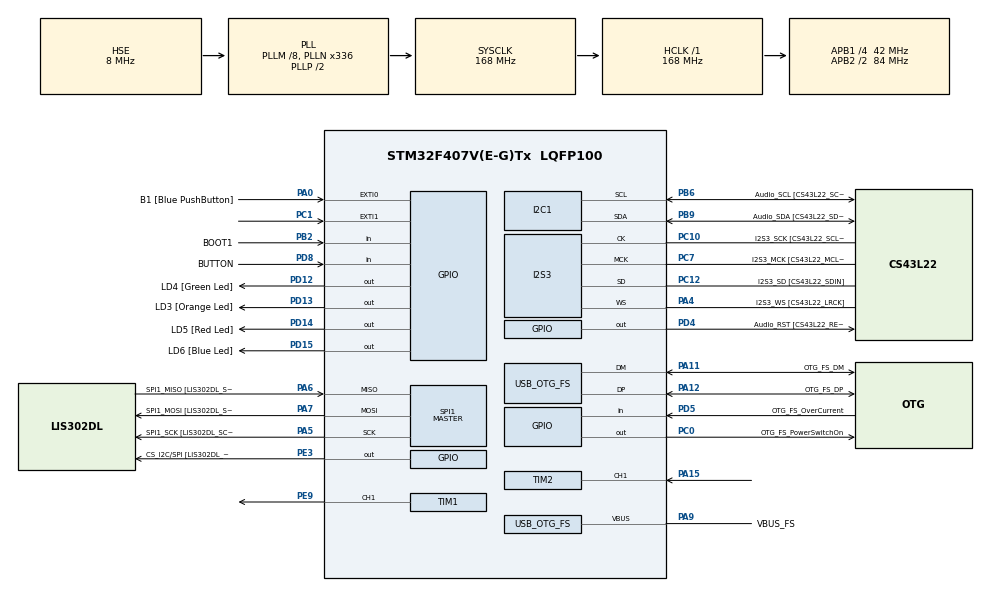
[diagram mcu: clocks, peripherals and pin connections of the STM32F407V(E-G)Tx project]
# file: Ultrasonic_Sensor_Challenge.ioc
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I2S3.AudioFreq-Half_Duplex_Master=I2S_AUDIOFREQ_96K
I2S3.ErrorAudioFreq=-2.34 %
I2S3.ErrorAudioFreq-Half_Duplex_Master=0.8 %
I2S3.FullDuplexMode=I2S_FULLDUPLEXMODE_DISABLE
I2S3.Instance=SPI$Index
I2S3.RealAudioFreq=93.75 KHz
I2S3.RealAudioFreq-Half_Duplex_Master=96.774 KHz
I2S3.VirtualMode=I2S_MODE_MASTER
Mcu.Family=STM32F4
Mcu.Name=STM32F407V(E-G)Tx
Mcu.Package=LQFP100
NVIC.EXTI1_IRQn=true\:0\:0\:false\:false\:true\:true\:true\:true
NVIC.OTG_FS_IRQn=true\:0\:0\:false\:false\:true\:true\:true\:true
NVIC.PriorityGroup=NVIC_PRIORITYGROUP_0
NVIC.TIM1_BRK_TIM9_IRQn=true\:0\:0\:false\:false\:true\:true\:true\:true
NVIC.TIM1_CC_IRQn=true\:0\:0\:false\:false\:true\:true\:true\:true
NVIC.TIM1_TRG_COM_TIM11_IRQn=true\:0\:0\:false\:false\:true\:true\:true\:true
NVIC.TIM1_UP_TIM10_IRQn=true\:0\:0\:false\:false\:true\:true\:true\:true
NVIC.TIM2_IRQn=true\:0\:0\:false\:false\:true\:true\:true\:true
PA0-WKUP.GPIO_Label=B1 [Blue PushButton]
PA0-WKUP.GPIO_ModeDefaultEXTI=GPIO_MODE_EVT_RISING
PA0-WKUP.GPIO_PuPd=GPIO_NOPULL
PA0-WKUP.Signal=GPXTI0
PA10.GPIO_Label=OTG_FS_ID
PA10.GPIO_Mode=GPIO_MODE_AF_PP
PA10.GPIO_PuPd=GPIO_NOPULL
PA10.GPIO_Speed=GPIO_SPEED_FREQ_LOW
PA10.Signal=USB_OTG_FS_ID
PA11.GPIO_Label=OTG_FS_DM
PA11.GPIO_Mode=GPIO_MODE_AF_PP
PA11.GPIO_PuPd=GPIO_NOPULL
PA11.GPIO_Speed=GPIO_SPEED_FREQ_LOW
PA11.Mode=Host_Only
PA11.Signal=USB_OTG_FS_DM
PA12.GPIO_Label=OTG_FS_DP
PA12.GPIO_Mode=GPIO_MODE_AF_PP
PA12.GPIO_PuPd=GPIO_NOPULL
PA12.GPIO_Speed=GPIO_SPEED_FREQ_LOW
PA12.Mode=Host_Only
PA12.Signal=USB_OTG_FS_DP
PA13.GPIO_Label=SWDIO
PA13.Mode=Serial_Wire
PA13.Signal=SYS_JTMS-SWDIO
PA14.GPIO_Label=SWCLK
PA14.Mode=Serial_Wire
PA14.Signal=SYS_JTCK-SWCLK
PA15.Signal=S_TIM2_CH1_ETR
PA4.GPIO_Label=I2S3_WS [CS43L22_LRCK]
PA4.GPIO_Mode=GPIO_MODE_AF_PP
PA4.GPIO_PuPd=GPIO_NOPULL
PA4.GPIO_Speed=GPIO_SPEED_FREQ_LOW
PA4.Mode=Half_Duplex_Master
PA4.Signal=I2S3_WS
PA5.GPIO_Label=SPI1_SCK [LIS302DL_SCL/SPC]
PA5.GPIO_Mode=GPIO_MODE_AF_PP
PA5.GPIO_PuPd=GPIO_NOPULL
PA5.GPIO_Speed=GPIO_SPEED_FREQ_LOW
PA5.Mode=Full_Duplex_Master
PA5.Signal=SPI1_SCK
PA6.GPIO_Label=SPI1_MISO [LIS302DL_SDO]
PA6.GPIO_Mode=GPIO_MODE_AF_PP
PA6.GPIO_PuPd=GPIO_NOPULL
PA6.GPIO_Speed=GPIO_SPEED_FREQ_LOW
PA6.Mode=Full_Duplex_Master
PA6.Signal=SPI1_MISO
PA7.GPIO_Label=SPI1_MOSI [LIS302DL_SDA/SDI/SDO]
PA7.GPIO_Mode=GPIO_MODE_AF_PP
PA7.GPIO_PuPd=GPIO_NOPULL
PA7.GPIO_Speed=GPIO_SPEED_FREQ_LOW
PA7.Mode=Full_Duplex_Master
PA7.Signal=SPI1_MOSI
PA9.GPIO_Label=VBUS_FS
PA9.GPIO_Mode=GPIO_MODE_INPUT
PA9.GPIO_PuPd=GPIO_NOPULL
PA9.Mode=Activate_VBUS
PA9.Signal=USB_OTG_FS_VBUS
PB10.GPIO_Label=CLK_IN [MP45DT02_CLK]
PB10.GPIO_Mode=GPIO_MODE_AF_PP
PB10.GPIO_PuPd=GPIO_NOPULL
PB10.GPIO_Speed=GPIO_SPEED_FREQ_LOW
PB10.Signal=I2S2_CK
PB2.GPIO_Label=BOOT1
PB2.GPIO_Mode=GPIO_MODE_INPUT
PB2.GPIO_PuPd=GPIO_NOPULL
PB2.Signal=GPIO_Input
PB3.GPIO_Label=SWO
PB3.Signal=SYS_JTDO-SWO
PB6.GPIO_Label=Audio_SCL [CS43L22_SCL]
PB6.GPIO_Mode=GPIO_MODE_AF_OD
PB6.GPIO_Pu=GPIO_PULLUP
PB6.GPIO_PuPd=GPIO_NOPULL
PB6.GPIO_Speed=GPIO_SPEED_FREQ_LOW
PB6.Mode=I2C
PB6.Signal=I2C1_SCL
PB9.GPIO_Label=Audio_SDA [CS43L22_SDA]
PB9.GPIO_Mode=GPIO_MODE_AF_OD
PB9.GPIO_Pu=GPIO_PULLUP
PB9.GPIO_PuPd=GPIO_NOPULL
PB9.GPIO_Speed=GPIO_SPEED_FREQ_LOW
PB9.Mode=I2C
PB9.Signal=I2C1_SDA
PC0.GPIO_Label=OTG_FS_PowerSwitchOn
PC0.GPIO_PuPd=GPIO_NOPULL
PC0.GPIO_Speed=GPIO_SPEED_FREQ_LOW
PC0.PinState=GPIO_PIN_SET
PC0.Signal=GPIO_Output
PC1.GPIO_ModeDefaultEXTI=GPIO_MODE_IT_RISING_FALLING
PC1.GPIO_PuPd=GPIO_PULLDOWN
PC1.Signal=GPXTI1
PC10.GPIO_Label=I2S3_SCK [CS43L22_SCLK]
PC10.GPIO_Mode=GPIO_MODE_AF_PP
PC10.GPIO_PuPd=GPIO_NOPULL
PC10.GPIO_Speed=GPIO_SPEED_FREQ_LOW
PC10.Mode=Half_Duplex_Master
PC10.Signal=I2S3_CK
PC12.GPIO_Label=I2S3_SD [CS43L22_SDIN]
PC12.GPIO_Mode=GPIO_MODE_AF_PP
PC12.GPIO_PuPd=GPIO_NOPULL
PC12.GPIO_Speed=GPIO_SPEED_FREQ_LOW
PC12.Mode=Half_Duplex_Master
PC12.Signal=I2S3_SD
PC14-OSC32_IN.GPIO_Label=PC14-OSC32_IN
PC14-OSC32_IN.Mode=LSE-External-Oscillator
PC14-OSC32_IN.Signal=RCC_OSC32_IN
PC15-OSC32_OUT.GPIO_Label=PC15-OSC32_OUT
PC15-OSC32_OUT.Mode=LSE-External-Oscillator
PC15-OSC32_OUT.Signal=RCC_OSC32_OUT
PC3.GPIO_Label=PDM_OUT [MP45DT02_DOUT]
PC3.GPIO_Mode=GPIO_MODE_AF_PP
PC3.GPIO_PuPd=GPIO_NOPULL
PC3.GPIO_Speed=GPIO_SPEED_FREQ_LOW
PC3.Signal=I2S2_SD
PC7.GPIO_Label=I2S3_MCK [CS43L22_MCLK]
PC7.GPIO_Mode=GPIO_MODE_AF_PP
PC7.GPIO_PuPd=GPIO_NOPULL
PC7.GPIO_Speed=GPIO_SPEED_FREQ_LOW
PC7.Mode=Master_Clock_Activated
PC7.Signal=I2S3_MCK
PD12.GPIO_Label=LD4 [Green Led]
PD12.GPIO_PuPd=GPIO_NOPULL
PD12.GPIO_Speed=GPIO_SPEED_FREQ_LOW
PD12.Signal=GPIO_Output
PD13.GPIO_Label=LD3 [Orange Led]
PD13.GPIO_PuPd=GPIO_NOPULL
PD13.GPIO_Speed=GPIO_SPEED_FREQ_LOW
PD13.Signal=GPIO_Output
PD14.GPIO_Label=LD5 [Red Led]
PD14.GPIO_PuPd=GPIO_NOPULL
PD14.GPIO_Speed=GPIO_SPEED_FREQ_LOW
PD14.Signal=GPIO_Output
PD15.GPIO_Label=LD6 [Blue Led]
PD15.GPIO_PuPd=GPIO_NOPULL
PD15.GPIO_Speed=GPIO_SPEED_FREQ_LOW
PD15.Signal=GPIO_Output
PD4.GPIO_Label=Audio_RST [CS43L22_RESET]
PD4.GPIO_PuPd=GPIO_NOPULL
PD4.GPIO_Speed=GPIO_SPEED_FREQ_LOW
PD4.Signal=GPIO_Output
PD5.GPIO_Label=OTG_FS_OverCurrent
PD5.GPIO_Mode=GPIO_MODE_INPUT
PD5.GPIO_PuPd=GPIO_NOPULL
PD5.Signal=GPIO_Input
PD8.GPIO_Label=BUTTON
PD8.GPIO_PuPd=GPIO_PULLDOWN
PD8.Signal=GPIO_Input
PE3.GPIO_Label=CS_I2C/SPI [LIS302DL_CS_I2C/SPI]
PE3.GPIO_PuPd=GPIO_NOPULL
PE3.GPIO_Speed=GPIO_SPEED_FREQ_LOW
PE3.Signal=GPIO_Output
PE9.Signal=S_TIM1_CH1
PH0-OSC_IN.GPIO_Label=PH0-OSC_IN
PH0-OSC_IN.Mode=HSE-External-Oscillator
PH0-OSC_IN.Signal=RCC_OSC_IN
PH1-OSC_OUT.GPIO_Label=PH1-OSC_OUT
PH1-OSC_OUT.Mode=HSE-External-Oscillator
PH1-OSC_OUT.Signal=RCC_OSC_OUT
ProjectManager.HeapSize=0x200
ProjectManager.StackSize=0x400
ProjectManager.TargetToolchain=STM32CubeIDE
RCC.48MHZClocksFreq_Value=48000000
RCC.AHBFreq_Value=168000000
RCC.APB1CLKDivider=RCC_HCLK_DIV4
RCC.APB1Freq_Value=42000000
RCC.APB1TimFreq_Value=84000000
RCC.APB2CLKDivider=RCC_HCLK_DIV2
RCC.APB2Freq_Value=84000000
RCC.APB2TimFreq_Value=168000000
RCC.CortexFreq_Value=168000000
RCC.HCLKFreq_Value=168000000
RCC.HSE_VALUE=8000000
RCC.HSI_VALUE=16000000
RCC.PLLM=8
RCC.PLLN=336
RCC.PLLQ=7
RCC.SYSCLKFreq_VALUE=168000000
RCC.SYSCLKSource=RCC_SYSCLKSOURCE_PLLCLK
RCC.VCOOutputFreq_Value=336000000
SH.S_TIM1_CH1.0=TIM1_CH1,PWM Generation1 CH1
SH.S_TIM2_CH1_ETR.0=TIM2_CH1,Input_Capture1_from_TI1
SPI1.BaudRatePrescaler-Full_Duplex_Master=SPI_BAUDRATEPRESCALER_2
SPI1.CalculateBaudRate-Full_Duplex_Master=42.0 MBits/s
SPI1.Direction=SPI_DIRECTION_2LINES
SPI1.Mode=SPI_MODE_MASTER
SPI1.Mode-Full_Duplex_Master=SPI_MODE_MASTER
SPI1.VirtualType=VM_MASTER
TIM1.Channel-PWM\ Generation1\ CH1=TIM_CHANNEL_1
TIM1.Period=10000-1
TIM1.Prescaler=1680-1
TIM1.Pulse-PWM\ Generation1\ CH1=1
TIM2.Channel-Input_Capture1_from_TI1=TIM_CHANNEL_1
TIM2.ICPolarity_CH1=TIM_INPUTCHANNELPOLARITY_BOTHEDGE
TIM2.Period=100000-1
TIM2.Prescaler=84-1
USB_HOST.BSP.number=1
USB_HOST.USBH_HandleTypeDef-CDC_FS=hUsbHostFS
USB_HOST.VirtualModeFS=Cdc
USB_HOST0.BSP.STBoard=false
USB_HOST0.BSP.api=Unknown
USB_HOST0.BSP.instance=PC0
USB_HOST0.BSP.ip=GPIO
USB_HOST0.BSP.mode=Output
USB_HOST0.BSP.name=Drive_VBUS_FS
USB_HOST0.BSP.solution=PC0
USB_OTG_FS.VirtualMode=Host_Only
USB_OTG_FS.phy_itface=HCD_PHY_EMBEDDED
VP_USB_HOST_VS_USB_HOST_CDC_FS.Mode=CDC_FS
board=STM32F407G-DISC1

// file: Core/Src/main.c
/* USER CODE BEGIN Header */
/**
  ******************************************************************************
  * @file           : main.c
  * @brief          : Main program body
  ******************************************************************************
  * @attention
  *
  * Copyright (c) 2025 STMicroelectronics.
  * All rights reserved.
  *
  * This software is licensed under terms that can be found in the LICENSE file
  * in the root directory of this software component.
  * If no LICENSE file comes with this software, it is provided AS-IS.
  *
  ******************************************************************************
  */
/* USER CODE END Header */
#include "main.h"
#include "usb_host.h"

I2C_HandleTypeDef hi2c1;

I2S_HandleTypeDef hi2s3;

SPI_HandleTypeDef hspi1;

TIM_HandleTypeDef htim1;
TIM_HandleTypeDef htim2;

/* USER CODE BEGIN PV */

uint32_t gCount1 = 0;
uint32_t gCount2 = 0;
uint32_t gPulseLength = 0;
uint8_t gEchoRec = 0;
uint32_t gDistance_cm = 0;

/* USER CODE END PV */

void SystemClock_Config(void);
static void MX_GPIO_Init(void);
static void MX_I2C1_Init(void);
static void MX_I2S3_Init(void);
static void MX_SPI1_Init(void);
static void MX_TIM1_Init(void);
static void MX_TIM2_Init(void);
void MX_USB_HOST_Process(void);

int main(void)
{

  /* MCU Configuration--------------------------------------------------------*/

  /* Reset of all peripherals, Initializes the Flash interface and the Systick. */
  HAL_Init();

  /* Configure the system clock */
  SystemClock_Config();

  /* Initialize all configured peripherals */
  MX_GPIO_Init();
  MX_I2C1_Init();
  MX_I2S3_Init();
  MX_SPI1_Init();
  MX_USB_HOST_Init();
  MX_TIM1_Init();
  MX_TIM2_Init();
  /* USER CODE BEGIN 2 */
  HAL_TIM_PWM_Start(&htim1, TIM_CHANNEL_1);
  HAL_TIM_IC_Start_IT(&htim2, TIM_CHANNEL_1);

  /* USER CODE END 2 */

  /* Infinite loop */
  /* USER CODE BEGIN WHILE */
  while (1)
  {
	gDistance_cm = gPulseLength/58;
    /* USER CODE END WHILE */
    MX_USB_HOST_Process();

  }
}

void SystemClock_Config(void)
{
  RCC_OscInitTypeDef RCC_OscInitStruct = {0};
  RCC_ClkInitTypeDef RCC_ClkInitStruct = {0};

  /** Configure the main internal regulator output voltage
  */
  __HAL_RCC_PWR_CLK_ENABLE();
  __HAL_PWR_VOLTAGESCALING_CONFIG(PWR_REGULATOR_VOLTAGE_SCALE1);

  /** Initializes the RCC Oscillators according to the specified parameters
  * in the RCC_OscInitTypeDef structure.
  */
  RCC_OscInitStruct.OscillatorType = RCC_OSCILLATORTYPE_HSE;
  RCC_OscInitStruct.HSEState = RCC_HSE_ON;
  RCC_OscInitStruct.PLL.PLLState = RCC_PLL_ON;
  RCC_OscInitStruct.PLL.PLLSource = RCC_PLLSOURCE_HSE;
  RCC_OscInitStruct.PLL.PLLM = 8;
  RCC_OscInitStruct.PLL.PLLN = 336;
  RCC_OscInitStruct.PLL.PLLP = RCC_PLLP_DIV2;
  RCC_OscInitStruct.PLL.PLLQ = 7;
  if (HAL_RCC_OscConfig(&RCC_OscInitStruct) != HAL_OK)
  {
    Error_Handler();
  }

  /** Initializes the CPU, AHB and APB buses clocks
  */
  RCC_ClkInitStruct.ClockType = RCC_CLOCKTYPE_HCLK|RCC_CLOCKTYPE_SYSCLK
                              |RCC_CLOCKTYPE_PCLK1|RCC_CLOCKTYPE_PCLK2;
  RCC_ClkInitStruct.SYSCLKSource = RCC_SYSCLKSOURCE_PLLCLK;
  RCC_ClkInitStruct.AHBCLKDivider = RCC_SYSCLK_DIV1;
  RCC_ClkInitStruct.APB1CLKDivider = RCC_HCLK_DIV4;
  RCC_ClkInitStruct.APB2CLKDivider = RCC_HCLK_DIV2;

  if (HAL_RCC_ClockConfig(&RCC_ClkInitStruct, FLASH_LATENCY_5) != HAL_OK)
  {
    Error_Handler();
  }
}

static void MX_I2C1_Init(void)
{

  hi2c1.Instance = I2C1;
  hi2c1.Init.ClockSpeed = 100000;
  hi2c1.Init.DutyCycle = I2C_DUTYCYCLE_2;
  hi2c1.Init.OwnAddress1 = 0;
  hi2c1.Init.AddressingMode = I2C_ADDRESSINGMODE_7BIT;
  hi2c1.Init.DualAddressMode = I2C_DUALADDRESS_DISABLE;
  hi2c1.Init.OwnAddress2 = 0;
  hi2c1.Init.GeneralCallMode = I2C_GENERALCALL_DISABLE;
  hi2c1.Init.NoStretchMode = I2C_NOSTRETCH_DISABLE;
  if (HAL_I2C_Init(&hi2c1) != HAL_OK)
  {
    Error_Handler();
  }

}

static void MX_I2S3_Init(void)
{

  hi2s3.Instance = SPI3;
  hi2s3.Init.Mode = I2S_MODE_MASTER_TX;
  hi2s3.Init.Standard = I2S_STANDARD_PHILIPS;
  hi2s3.Init.DataFormat = I2S_DATAFORMAT_16B;
  hi2s3.Init.MCLKOutput = I2S_MCLKOUTPUT_ENABLE;
  hi2s3.Init.AudioFreq = I2S_AUDIOFREQ_96K;
  hi2s3.Init.CPOL = I2S_CPOL_LOW;
  hi2s3.Init.ClockSource = I2S_CLOCK_PLL;
  hi2s3.Init.FullDuplexMode = I2S_FULLDUPLEXMODE_DISABLE;
  if (HAL_I2S_Init(&hi2s3) != HAL_OK)
  {
    Error_Handler();
  }

}

static void MX_SPI1_Init(void)
{

  /* SPI1 parameter configuration*/
  hspi1.Instance = SPI1;
  hspi1.Init.Mode = SPI_MODE_MASTER;
  hspi1.Init.Direction = SPI_DIRECTION_2LINES;
  hspi1.Init.DataSize = SPI_DATASIZE_8BIT;
  hspi1.Init.CLKPolarity = SPI_POLARITY_LOW;
  hspi1.Init.CLKPhase = SPI_PHASE_1EDGE;
  hspi1.Init.NSS = SPI_NSS_SOFT;
  hspi1.Init.BaudRatePrescaler = SPI_BAUDRATEPRESCALER_2;
  hspi1.Init.FirstBit = SPI_FIRSTBIT_MSB;
  hspi1.Init.TIMode = SPI_TIMODE_DISABLE;
  hspi1.Init.CRCCalculation = SPI_CRCCALCULATION_DISABLE;
  hspi1.Init.CRCPolynomial = 10;
  if (HAL_SPI_Init(&hspi1) != HAL_OK)
  {
    Error_Handler();
  }

}

static void MX_TIM1_Init(void)
{

  TIM_MasterConfigTypeDef sMasterConfig = {0};
  TIM_OC_InitTypeDef sConfigOC = {0};
  TIM_BreakDeadTimeConfigTypeDef sBreakDeadTimeConfig = {0};

  htim1.Instance = TIM1;
  htim1.Init.Prescaler = 1680-1;
  htim1.Init.CounterMode = TIM_COUNTERMODE_UP;
  htim1.Init.Period = 10000-1;
  htim1.Init.ClockDivision = TIM_CLOCKDIVISION_DIV1;
  htim1.Init.RepetitionCounter = 0;
  htim1.Init.AutoReloadPreload = TIM_AUTORELOAD_PRELOAD_DISABLE;
  if (HAL_TIM_PWM_Init(&htim1) != HAL_OK)
  {
    Error_Handler();
  }
  sMasterConfig.MasterOutputTrigger = TIM_TRGO_RESET;
  sMasterConfig.MasterSlaveMode = TIM_MASTERSLAVEMODE_DISABLE;
  if (HAL_TIMEx_MasterConfigSynchronization(&htim1, &sMasterConfig) != HAL_OK)
  {
    Error_Handler();
  }
  sConfigOC.OCMode = TIM_OCMODE_PWM1;
  sConfigOC.Pulse = 1;
  sConfigOC.OCPolarity = TIM_OCPOLARITY_HIGH;
  sConfigOC.OCNPolarity = TIM_OCNPOLARITY_HIGH;
  sConfigOC.OCFastMode = TIM_OCFAST_DISABLE;
  sConfigOC.OCIdleState = TIM_OCIDLESTATE_RESET;
  sConfigOC.OCNIdleState = TIM_OCNIDLESTATE_RESET;
  if (HAL_TIM_PWM_ConfigChannel(&htim1, &sConfigOC, TIM_CHANNEL_1) != HAL_OK)
  {
    Error_Handler();
  }
  sBreakDeadTimeConfig.OffStateRunMode = TIM_OSSR_DISABLE;
  sBreakDeadTimeConfig.OffStateIDLEMode = TIM_OSSI_DISABLE;
  sBreakDeadTimeConfig.LockLevel = TIM_LOCKLEVEL_OFF;
  sBreakDeadTimeConfig.DeadTime = 0;
  sBreakDeadTimeConfig.BreakState = TIM_BREAK_DISABLE;
  sBreakDeadTimeConfig.BreakPolarity = TIM_BREAKPOLARITY_HIGH;
  sBreakDeadTimeConfig.AutomaticOutput = TIM_AUTOMATICOUTPUT_DISABLE;
  if (HAL_TIMEx_ConfigBreakDeadTime(&htim1, &sBreakDeadTimeConfig) != HAL_OK)
  {
    Error_Handler();
  }
  HAL_TIM_MspPostInit(&htim1);

}

static void MX_TIM2_Init(void)
{

  TIM_MasterConfigTypeDef sMasterConfig = {0};
  TIM_IC_InitTypeDef sConfigIC = {0};

  htim2.Instance = TIM2;
  htim2.Init.Prescaler = 84-1;
  htim2.Init.CounterMode = TIM_COUNTERMODE_UP;
  htim2.Init.Period = 100000-1;
  htim2.Init.ClockDivision = TIM_CLOCKDIVISION_DIV1;
  htim2.Init.AutoReloadPreload = TIM_AUTORELOAD_PRELOAD_DISABLE;
  if (HAL_TIM_IC_Init(&htim2) != HAL_OK)
  {
    Error_Handler();
  }
  sMasterConfig.MasterOutputTrigger = TIM_TRGO_RESET;
  sMasterConfig.MasterSlaveMode = TIM_MASTERSLAVEMODE_DISABLE;
  if (HAL_TIMEx_MasterConfigSynchronization(&htim2, &sMasterConfig) != HAL_OK)
  {
    Error_Handler();
  }
  sConfigIC.ICPolarity = TIM_INPUTCHANNELPOLARITY_BOTHEDGE;
  sConfigIC.ICSelection = TIM_ICSELECTION_DIRECTTI;
  sConfigIC.ICPrescaler = TIM_ICPSC_DIV1;
  sConfigIC.ICFilter = 0;
  if (HAL_TIM_IC_ConfigChannel(&htim2, &sConfigIC, TIM_CHANNEL_1) != HAL_OK)
  {
    Error_Handler();
  }

}

static void MX_GPIO_Init(void)
{
  GPIO_InitTypeDef GPIO_InitStruct = {0};

  /* GPIO Ports Clock Enable */
  __HAL_RCC_GPIOE_CLK_ENABLE();
  __HAL_RCC_GPIOC_CLK_ENABLE();
  __HAL_RCC_GPIOH_CLK_ENABLE();
  __HAL_RCC_GPIOA_CLK_ENABLE();
  __HAL_RCC_GPIOB_CLK_ENABLE();
  __HAL_RCC_GPIOD_CLK_ENABLE();

  /*Configure GPIO pin Output Level */
  HAL_GPIO_WritePin(CS_I2C_SPI_GPIO_Port, CS_I2C_SPI_Pin, GPIO_PIN_RESET);

  /*Configure GPIO pin Output Level */
  HAL_GPIO_WritePin(OTG_FS_PowerSwitchOn_GPIO_Port, OTG_FS_PowerSwitchOn_Pin, GPIO_PIN_SET);

  /*Configure GPIO pin Output Level */
  HAL_GPIO_WritePin(GPIOD, LD4_Pin|LD3_Pin|LD5_Pin|LD6_Pin
                          |Audio_RST_Pin, GPIO_PIN_RESET);

  /*Configure GPIO pin : CS_I2C_SPI_Pin */
  GPIO_InitStruct.Pin = CS_I2C_SPI_Pin;
  GPIO_InitStruct.Mode = GPIO_MODE_OUTPUT_PP;
  GPIO_InitStruct.Pull = GPIO_NOPULL;
  GPIO_InitStruct.Speed = GPIO_SPEED_FREQ_LOW;
  HAL_GPIO_Init(CS_I2C_SPI_GPIO_Port, &GPIO_InitStruct);

  /*Configure GPIO pin : OTG_FS_PowerSwitchOn_Pin */
  GPIO_InitStruct.Pin = OTG_FS_PowerSwitchOn_Pin;
  GPIO_InitStruct.Mode = GPIO_MODE_OUTPUT_PP;
  GPIO_InitStruct.Pull = GPIO_NOPULL;
  GPIO_InitStruct.Speed = GPIO_SPEED_FREQ_LOW;
  HAL_GPIO_Init(OTG_FS_PowerSwitchOn_GPIO_Port, &GPIO_InitStruct);

  /*Configure GPIO pin : PC1 */
  GPIO_InitStruct.Pin = GPIO_PIN_1;
  GPIO_InitStruct.Mode = GPIO_MODE_IT_RISING_FALLING;
  GPIO_InitStruct.Pull = GPIO_PULLDOWN;
  HAL_GPIO_Init(GPIOC, &GPIO_InitStruct);

  /*Configure GPIO pin : PDM_OUT_Pin */
  GPIO_InitStruct.Pin = PDM_OUT_Pin;
  GPIO_InitStruct.Mode = GPIO_MODE_AF_PP;
  GPIO_InitStruct.Pull = GPIO_NOPULL;
  GPIO_InitStruct.Speed = GPIO_SPEED_FREQ_LOW;
  GPIO_InitStruct.Alternate = GPIO_AF5_SPI2;
  HAL_GPIO_Init(PDM_OUT_GPIO_Port, &GPIO_InitStruct);

  /*Configure GPIO pin : B1_Pin */
  GPIO_InitStruct.Pin = B1_Pin;
  GPIO_InitStruct.Mode = GPIO_MODE_EVT_RISING;
  GPIO_InitStruct.Pull = GPIO_NOPULL;
  HAL_GPIO_Init(B1_GPIO_Port, &GPIO_InitStruct);

  /*Configure GPIO pin : BOOT1_Pin */
  GPIO_InitStruct.Pin = BOOT1_Pin;
  GPIO_InitStruct.Mode = GPIO_MODE_INPUT;
  GPIO_InitStruct.Pull = GPIO_NOPULL;
  HAL_GPIO_Init(BOOT1_GPIO_Port, &GPIO_InitStruct);

  /*Configure GPIO pin : CLK_IN_Pin */
  GPIO_InitStruct.Pin = CLK_IN_Pin;
  GPIO_InitStruct.Mode = GPIO_MODE_AF_PP;
  GPIO_InitStruct.Pull = GPIO_NOPULL;
  GPIO_InitStruct.Speed = GPIO_SPEED_FREQ_LOW;
  GPIO_InitStruct.Alternate = GPIO_AF5_SPI2;
  HAL_GPIO_Init(CLK_IN_GPIO_Port, &GPIO_InitStruct);

  /*Configure GPIO pin : BUTTON_Pin */
  GPIO_InitStruct.Pin = BUTTON_Pin;
  GPIO_InitStruct.Mode = GPIO_MODE_INPUT;
  GPIO_InitStruct.Pull = GPIO_PULLDOWN;
  HAL_GPIO_Init(BUTTON_GPIO_Port, &GPIO_InitStruct);

  /*Configure GPIO pins : LD4_Pin LD3_Pin LD5_Pin LD6_Pin
                           Audio_RST_Pin */
  GPIO_InitStruct.Pin = LD4_Pin|LD3_Pin|LD5_Pin|LD6_Pin
                          |Audio_RST_Pin;
  GPIO_InitStruct.Mode = GPIO_MODE_OUTPUT_PP;
  GPIO_InitStruct.Pull = GPIO_NOPULL;
  GPIO_InitStruct.Speed = GPIO_SPEED_FREQ_LOW;
  HAL_GPIO_Init(GPIOD, &GPIO_InitStruct);

  /*Configure GPIO pin : OTG_FS_OverCurrent_Pin */
  GPIO_InitStruct.Pin = OTG_FS_OverCurrent_Pin;
  GPIO_InitStruct.Mode = GPIO_MODE_INPUT;
  GPIO_InitStruct.Pull = GPIO_NOPULL;
  HAL_GPIO_Init(OTG_FS_OverCurrent_GPIO_Port, &GPIO_InitStruct);

  /* EXTI interrupt init*/
  HAL_NVIC_SetPriority(EXTI1_IRQn, 0, 0);
  HAL_NVIC_EnableIRQ(EXTI1_IRQn);

}

/* USER CODE BEGIN 4 */

//Triggers on both edges of the echo signal
void HAL_TIM_IC_CaptureCallback(TIM_HandleTypeDef *htim)
{
	if(htim->Instance == TIM2 && htim->Channel == HAL_TIM_ACTIVE_CHANNEL_1)
	{

		if(!gEchoRec) {
			gCount1 = HAL_TIM_ReadCapturedValue(htim, TIM_CHANNEL_1);
			gEchoRec = 1;
		}
		else if(gEchoRec) {
			gCount2 = HAL_TIM_ReadCapturedValue(htim, TIM_CHANNEL_1);
			if(gCount2 > gCount1) {
				gPulseLength = gCount2-gCount1;
			} else {
				gPulseLength = (0xFFFF - gCount1) + gCount2 + 1;
			}
			gEchoRec = 0;
		}
	}
}

/*
void HAL_TIM_PeriodElapsedCallback(TIM_HandleTypeDef *htim)
{
	if(htim->Instance == TIM2)
	{
		if(gTrigSent)
		{
			gTime_us++;fs
			if(gEchoRec)
			{
				gDeltaTime = gTime_us;
				gTrigSent = 0;
				gEchoRec = 0;
				gTime_us = 10;
			}
		}

	}

}
*/

/*void HAL_GPIO_EXTI_Callback(uint16_t GPIO_Pin)
{
	if(HAL_GPIO_ReadPin(GPIOC,GPIO_PIN_1) == GPIO_PIN_SET)
	{
		gEchoRec = 1;
	}
	else {
		gEchoRec = 0;
	}
}*/

/*
//Triggers every time a timer rolls over
void HAL_TIM_PeriodElapsedCallback(TIM_HandleTypeDef *htim)
{
	if(htim->Instance == TIM2)
	{
		gCapturedValue = HAL_TIM_ReadCapturedValue(htim, TIM_CHANNEL_1);
		if(gCapturedValue)
		{
			gTime_us++;
		}
		else if(gEchoRec)
		{
			gDeltaTime = gTime_us;
			gEchoRec = 0;

		} else;
	}
}*/
/* USER CODE END 4 */

void Error_Handler(void)
{
  __disable_irq();
  while (1)
  {
  }
}
